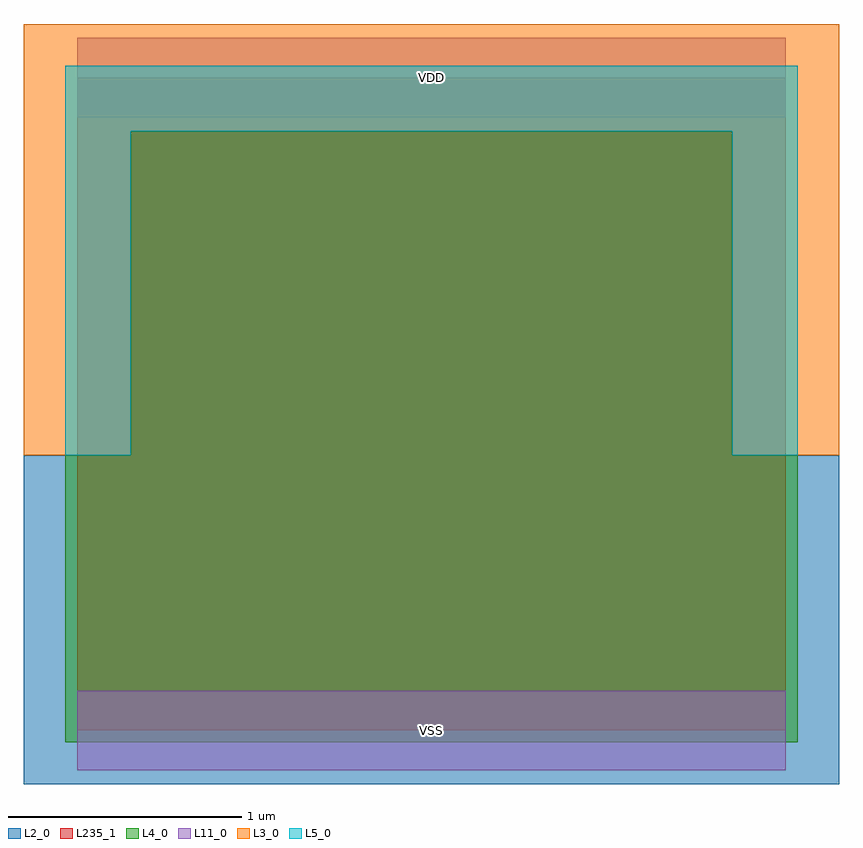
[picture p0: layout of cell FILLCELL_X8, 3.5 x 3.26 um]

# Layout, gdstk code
import gdstk
lib = gdstk.Library(unit=1e-6, precision=1e-09)
def R(c, l, rs):  # rectangles x0, y0, x1, y1
    for r in rs: c.add(gdstk.rectangle(r[:2], r[2:], *l))
def P(c, l, *ps):  # polygons
    for p in ps: c.add(gdstk.Polygon(p, *l))
L2_0 = (2, 0)
L3_0 = (3, 0)
L4_0 = (4, 0)
L5_0 = (5, 0)
L11_0 = (11, 0)
L235_1 = (235, 1)

fillcell_x8 = lib.new_cell('FILLCELL_X8')
P(fillcell_x8, L2_0, [(-0.23,-0.23),(3.27,-0.23),(3.27,1.18),(2.81,1.18),(2.81,2.57),(0.23,2.57),(0.23,1.18),(-0.23,1.18)])
P(fillcell_x8, L3_0, [(-0.23,1.18),(0.23,1.18),(0.23,2.57),(2.81,2.57),(2.81,1.18),(3.27,1.18),(3.27,3.03),(-0.23,3.03)])
P(fillcell_x8, L4_0, [(-0.05,-0.05),(3.09,-0.05),(3.09,1.18),(2.81,1.18),(2.81,2.57),(0.23,2.57),(0.23,1.18),(-0.05,1.18)])
P(fillcell_x8, L5_0, [(-0.05,1.18),(0.23,1.18),(0.23,2.57),(2.81,2.57),(2.81,1.18),(3.09,1.18),(3.09,2.85),(-0.05,2.85)])
R(fillcell_x8, L11_0, [(0,-0.17,3.04,0.17), (0,-0.17,3.04,0.17), (0,2.63,3.04,2.97), (0,2.63,3.04,2.97)])
R(fillcell_x8, L235_1, [(0,0,3.04,2.8)])
fillcell_x8.add(gdstk.Label('VSS', (1.52,0), layer=11, texttype=0))
fillcell_x8.add(gdstk.Label('VDD', (1.52,2.8), layer=11, texttype=0))

lib.write_gds('FILLCELL_X8.gds')
